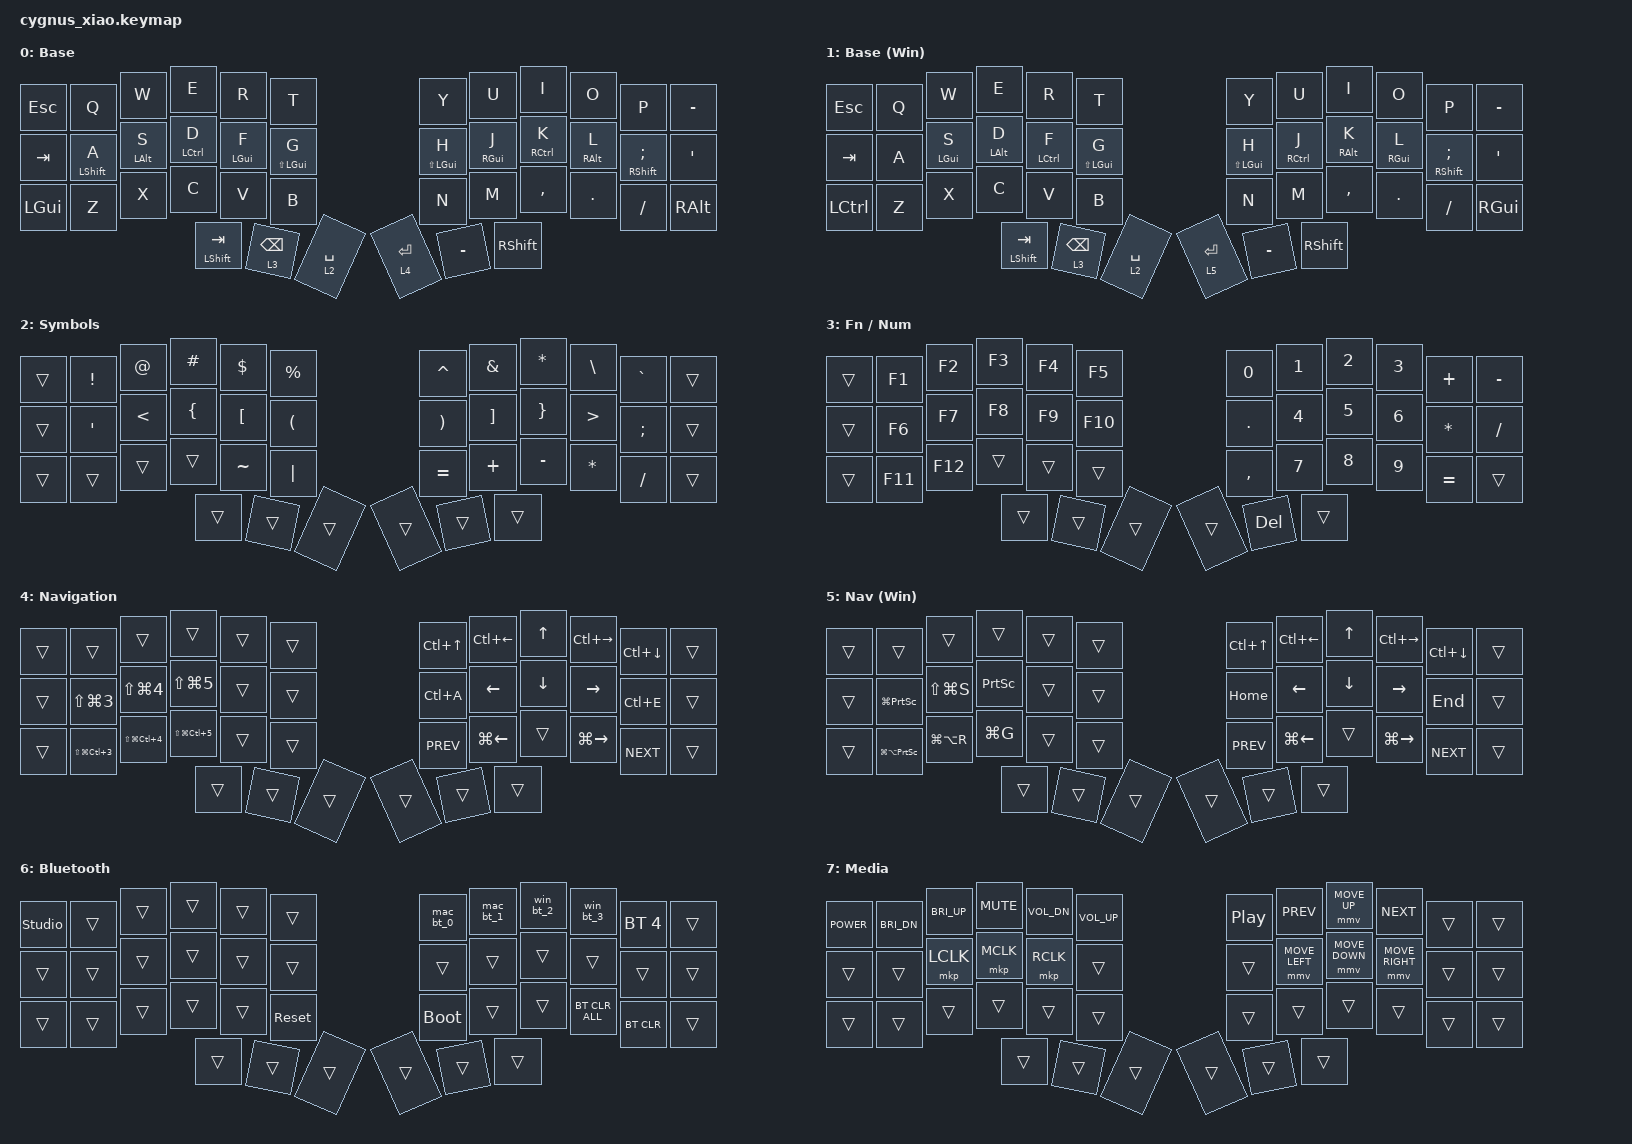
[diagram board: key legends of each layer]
/*
 * Copyright (c) 2020 The ZMK Contributors
 *
 * SPDX-License-Identifier: MIT
 */

/*
 * Cygnus 3x6 - keymap
 */
#include <behaviors.dtsi>
#include <dt-bindings/zmk/bt.h>
#include <dt-bindings/zmk/keys.h>
#include <dt-bindings/zmk/mouse.h>

/ {
    combos {
        compatible = "zmk,combos";

        /*
         * Left thumb TAB + right thumb SHIFT -> Layer 6 (Settings) while held
         *
         * Cygnus/Corne 3x6 positions:
         * TAB (left thumb)   = 36
         * SHIFT (right thumb) = 41
         */
        settings_layer {
            timeout-ms = <60>;
            key-positions = <36 41>;
            bindings = <&mo 6>;
        };

        /*
         * SPACE + ENTER simultaneously -> hold Layer 7 (Media)
         * Only on the Base layers (0 = Mac, 1 = Windows)
         */
        media_layer {
            timeout-ms = <60>;
            key-positions = <38 39>;
            bindings = <&mo 7>;
            layers = <0 1>;
        };

        /*
         * C + V simultaneously -> 英数 (LANG2)
         * M + COMMA simultaneously -> かな (LANG1)
         *
         * Cygnus/Corne 3x6 positions:
         * C = 27, V = 28
         * M = 31, COMMA = 32
         */
        eisu_combo {
            timeout-ms = <60>;
            key-positions = <27 28>;
            bindings = <&kp LANG2>;
        };

        kana_combo {
            timeout-ms = <60>;
            key-positions = <31 32>;
            bindings = <&kp LANG1>;
        };

        /*
         * O + P simultaneously -> MINUS (-)
         * DOT + SLASH simultaneously -> SINGLE_QUOTE (')
         * Only on the Base layers (0 = Mac, 1 = Windows)
         *
         * Cygnus/Corne 3x6 positions:
         * O = 9, P = 10
         * DOT = 33, SLASH = 34
         */
        hyphen_combo {
            timeout-ms = <60>;
            key-positions = <9 10>;
            bindings = <&kp MINUS>;
            layers = <0 1>;
        };

        quote_combo {
            timeout-ms = <60>;
            key-positions = <33 34>;
            bindings = <&kp SINGLE_QUOTE>;
            layers = <0 1>;
        };

        /*
         * B + T + O simultaneously -> bootloader
         * (same as double-pressing the reset button)
         *
         * Cygnus/Corne 3x6 positions:
         * T = 5
         * O = 9
         * B = 29
         */
        bootloader_combo {
            timeout-ms = <100>;
            key-positions = <5 9 29>;
            bindings = <&bootloader>;
        };
    };

    /*
     * Bluetooth profile + OS Base layer switch in one key press
     *
     * Profile 0, 1 -> Mac     (Layer 0)
     * Profile 2, 3 -> Windows (Layer 1)
     *
     * &to deactivates every layer except the default layer (0) and
     * activates the target, so it also cancels a stuck momentary layer.
     * Windows Base (1) must stay below Symbols/Num/Nav (2+): the highest
     * active layer wins, so temporary layers can only sit above it.
     */
    macros {
        mac_bt_0: mac_bt_0 {
            compatible = "zmk,behavior-macro";
            label = "MAC_BT_0";
            #binding-cells = <0>;
            bindings = <&macro_tap &bt BT_SEL 0 &to 0>;
        };

        mac_bt_1: mac_bt_1 {
            compatible = "zmk,behavior-macro";
            label = "MAC_BT_1";
            #binding-cells = <0>;
            bindings = <&macro_tap &bt BT_SEL 1 &to 0>;
        };

        win_bt_2: win_bt_2 {
            compatible = "zmk,behavior-macro";
            label = "WIN_BT_2";
            #binding-cells = <0>;
            bindings = <&macro_tap &bt BT_SEL 2 &to 1>;
        };

        win_bt_3: win_bt_3 {
            compatible = "zmk,behavior-macro";
            label = "WIN_BT_3";
            #binding-cells = <0>;
            bindings = <&macro_tap &bt BT_SEL 3 &to 1>;
        };
    };

    behaviors {
        /*
         * Home-row mods
         * Hold decision: 250 ms
         */

        hml: home_row_left {
            compatible = "zmk,behavior-hold-tap";
            label = "HOME_ROW_LEFT";
            #binding-cells = <2>;

            tapping-term-ms = <250>;
            quick-tap-ms = <175>;
            require-prior-idle-ms = <150>;
            flavor = "balanced";

            bindings = <&kp>, <&kp>;

            hold-trigger-key-positions =
                <6 7 8 9 10 11
                 18 19 20 21 22 23
                 30 31 32 33 34 35>;

            hold-trigger-on-release;
        };

        hmr: home_row_right {
            compatible = "zmk,behavior-hold-tap";
            label = "HOME_ROW_RIGHT";
            #binding-cells = <2>;

            tapping-term-ms = <250>;
            quick-tap-ms = <175>;
            require-prior-idle-ms = <150>;
            flavor = "balanced";

            bindings = <&kp>, <&kp>;

            hold-trigger-key-positions =
                <0 1 2 3 4 5
                 12 13 14 15 16 17
                 24 25 26 27 28 29>;

            hold-trigger-on-release;
        };

        /*
         * Modifier-tap
         * e.g. TAB/Shift, KANA/Shift
         */
        mt250: mod_tap_250 {
            compatible = "zmk,behavior-hold-tap";
            label = "MOD_TAP_250";
            #binding-cells = <2>;

            tapping-term-ms = <250>;
            quick-tap-ms = <175>;
            flavor = "balanced";

            bindings = <&kp>, <&kp>;
        };

        /*
         * Layer-tap
         *
         * arg1 = layer
         * arg2 = tap key
         */
        lt250: layer_tap_250 {
            compatible = "zmk,behavior-hold-tap";
            label = "LAYER_TAP_250";
            #binding-cells = <2>;

            tapping-term-ms = <250>;
            quick-tap-ms = <175>;
            flavor = "balanced";

            bindings = <&mo>, <&kp>;
        };
    };


    keymap {
        compatible = "zmk,keymap";


        /*
         * ==========================================================
         * Layer 0 - BASE (Mac)
         *
         * Selected by Bluetooth profile 0 / 1 (&mac_bt_0 / &mac_bt_1)
         * ==========================================================
         *
         * LEFT                                  RIGHT
         *
         * ESC   Q   W   E   R   T      Y   U   I   O   P   -
         * TAB   A/SFT S   D   F   G    H   J   K   L   ;/SFT '
         * GUI   Z   X   C   V   B      N   M   ,   .   /   ALT
         *
         * C+V -> 英数 (LANG2) combo, M+COMMA -> かな (LANG1) combo
         * O+P -> MINUS combo, DOT+SLASH -> SINGLE_QUOTE combo
         * G/H long-press -> GUI+SHIFT
         * A / ; long-press -> SHIFT
         * aerospace (macOS tiling WM) tuning: ALT <-> CONTROL swapped
         * on S/D and K/L vs. the stock layout
         *
         *       TAB/SFT BSPC/L3 SPACE/L2   ENTER/L4 -   RSHIFT
         */

        default_layer {
            display-name = "Base";

            bindings = <

&kp ESC          &kp Q                 &kp W                 &kp E                &kp R                &kp T
&kp Y            &kp U                 &kp I                 &kp O                &kp P                &kp MINUS

&kp TAB          &hml LEFT_SHIFT A     &hml LEFT_ALT S       &hml LEFT_CONTROL D  &hml LEFT_GUI F      &mt250 LS(LGUI) G
&mt250 LS(LGUI) H &hmr RIGHT_GUI J     &hmr RIGHT_CONTROL K  &hmr RIGHT_ALT L     &mt250 RIGHT_SHIFT SEMI &kp SINGLE_QUOTE

&kp LEFT_GUI     &kp Z                 &kp X                 &kp C                &kp V                &kp B
&kp N            &kp M                 &kp COMMA             &kp DOT              &kp SLASH            &kp RIGHT_ALT

                         &mt250 LEFT_SHIFT TAB
                         &lt250 3 BACKSPACE
                         &lt250 2 SPACE
                         &lt250 4 ENTER
                         &kp MINUS
                         &kp RIGHT_SHIFT
            >;
        };


        /*
         * ==========================================================
         * Layer 1 - BASE (Windows)
         *
         * Selected by Bluetooth profile 2 / 3 (&win_bt_2 / &win_bt_3)
         * Copy of Layer 0 with GUI <-> CTRL swapped on the home row / left edge.
         * LANG1 / LANG2 are kept as-is.
         *
         * ESC   Q   W   E   R   T      Y   U   I   O   P   -
         * TAB   A   GUI ALT CTRL G     H   CTRL ALT GUI ;/SFT '
         * CTRL  Z   X   C   V   B      N   M   ,   .   /   GUI
         *
         * C+V -> 英数 (LANG2) combo, M+COMMA -> かな (LANG1) combo
         * O+P -> MINUS combo, DOT+SLASH -> SINGLE_QUOTE combo
         * G/H long-press -> GUI+SHIFT
         * ; long-press -> SHIFT
         *
         *       TAB/SFT BSPC/L3 SPACE/L2   ENTER/L5 -   RSHIFT
         * ==========================================================
         */

        windows_layer {
            display-name = "Base (Win)";

            bindings = <

&kp ESC          &kp Q                 &kp W                 &kp E                &kp R                &kp T
&kp Y            &kp U                 &kp I                 &kp O                &kp P                &kp MINUS

&kp TAB          &kp A                 &hml LEFT_GUI S       &hml LEFT_ALT D      &hml LEFT_CONTROL F  &mt250 LS(LGUI) G
&mt250 LS(LGUI) H &hmr RIGHT_CONTROL J &hmr RIGHT_ALT K      &hmr RIGHT_GUI L     &mt250 RIGHT_SHIFT SEMI &kp SINGLE_QUOTE

&kp LEFT_CONTROL &kp Z                 &kp X                 &kp C                &kp V                &kp B
&kp N            &kp M                 &kp COMMA             &kp DOT              &kp SLASH            &kp RIGHT_GUI

                         &mt250 LEFT_SHIFT TAB
                         &lt250 3 BACKSPACE
                         &lt250 2 SPACE
                         &lt250 5 ENTER
                         &kp MINUS
                         &kp RIGHT_SHIFT
            >;
        };


        /*
         * ==========================================================
         * Layer 2 - SYMBOL
         * Conductor L1 based
         * ==========================================================
         */

        symbol_layer {
            display-name = "Symbols";

            bindings = <

&trans           &kp EXCL              &kp AT                &kp HASH             &kp DLLR             &kp PRCNT
&kp CARET        &kp AMPS              &kp ASTRK             &kp BSLH             &kp GRAVE            &trans

&trans           &kp SINGLE_QUOTE      &kp LT                &kp LBRC             &kp LBKT             &kp LPAR
&kp RPAR         &kp RBKT              &kp RBRC              &kp GT               &kp SEMI             &trans

&trans           &trans                &trans                &trans               &kp TILDE            &kp PIPE
&kp EQUAL        &kp PLUS              &kp MINUS             &kp ASTRK            &kp SLASH            &trans

                         &trans
                         &trans
                         &trans
                         &trans
                         &trans
                         &trans
            >;
        };


        /*
         * ==========================================================
         * Layer 3 - FUNCTION / NUMPAD
         *
         * DELETE sits on the right thumb (same key that is MINUS on
         * the Base layers): hold BSPC/L3 + that key -> DELETE.
         * ==========================================================
         */

        function_layer {
            display-name = "Fn / Num";

            bindings = <

&trans           &kp F1                &kp F2                &kp F3               &kp F4               &kp F5
&kp N0           &kp N1                &kp N2                &kp N3               &kp PLUS             &kp MINUS

&trans           &kp F6                &kp F7                &kp F8               &kp F9               &kp F10
&kp DOT          &kp N4                &kp N5                &kp N6               &kp ASTRK            &kp SLASH

&trans           &kp F11               &kp F12               &trans               &trans               &trans
&kp COMMA        &kp N7                &kp N8                &kp N9               &kp EQUAL            &trans

                         &trans
                         &trans
                         &trans
                         &trans
                         &kp DELETE
                         &trans
            >;
        };


        /*
         * ==========================================================
         * Layer 4 - NAVIGATION / macOS
         *
         * Reached from Mac Base (Layer 0) via ENTER/L4
         * ==========================================================
         */

        navigation_layer {
            display-name = "Navigation";

            bindings = <

&trans           &trans                &trans                &trans               &trans               &trans
&kp LC(UP_ARROW) &kp LC(LEFT_ARROW)    &kp UP_ARROW          &kp LC(RIGHT_ARROW)  &kp LC(DOWN_ARROW)   &trans

&trans           &kp LS(LG(N3))        &kp LS(LG(N4))        &kp LS(LG(N5))       &trans               &trans
&kp LC(A)        &kp LEFT_ARROW        &kp DOWN_ARROW        &kp RIGHT_ARROW      &kp LC(E)            &trans

&trans           &kp LS(LG(LC(N3)))    &kp LS(LG(LC(N4)))    &kp LS(LG(LC(N5)))   &trans               &trans
&kp C_PREV       &kp LG(LEFT_ARROW)    &trans               &kp LG(RIGHT_ARROW)  &kp C_NEXT           &trans

                         &trans
                         &trans
                         &trans
                         &trans
                         &trans
                         &trans
            >;
        };


        /*
         * ==========================================================
         * Layer 5 - NAVIGATION / Windows
         *
         * Reached from Windows Base (Layer 1) via ENTER/L5.
         * Same as the cygnus3x6_keymap_windows branch:
         * Row1: Win+PrtScn / Win+Shift+S / PrtScn
         * Row2: Win+Alt+PrtScn / Win+Alt+R / Win+G (Game Bar)
         * HOME/END replace the emacs-style Ctrl+A/Ctrl+E (Select All / Find on Windows).
         * ==========================================================
         */

        windows_navigation_layer {
            display-name = "Nav (Win)";

            bindings = <

&trans           &trans                &trans                &trans               &trans               &trans
&kp LC(UP_ARROW) &kp LC(LEFT_ARROW)    &kp UP_ARROW          &kp LC(RIGHT_ARROW)  &kp LC(DOWN_ARROW)   &trans

&trans           &kp LG(PSCRN)         &kp LS(LG(S))         &kp PSCRN            &trans               &trans
&kp HOME         &kp LEFT_ARROW        &kp DOWN_ARROW        &kp RIGHT_ARROW      &kp END              &trans

&trans           &kp LG(LA(PSCRN))     &kp LG(LA(R))         &kp LG(G)            &trans               &trans
&kp C_PREV       &kp LG(LEFT_ARROW)    &trans                &kp LG(RIGHT_ARROW)  &kp C_NEXT           &trans

                         &trans
                         &trans
                         &trans
                         &trans
                         &trans
                         &trans
            >;
        };


        /*
         * ==========================================================
         * Layer 6 - SETTINGS / Bluetooth
         *
         * Left thumb TAB + right thumb SHIFT simultaneously -> hold Layer 6
         *
         * BT 0/1 -> Mac Base, BT 2/3 -> Windows Base (macros)
         * ==========================================================
         */

        settings_layer {
            display-name = "Bluetooth";

            bindings = <

&studio_unlock   &trans                &trans                &trans               &trans               &trans
&mac_bt_0        &mac_bt_1             &win_bt_2             &win_bt_3            &bt BT_SEL 4         &trans

&trans           &trans                &trans                &trans               &trans               &trans
&trans           &trans                &trans                &trans               &trans               &trans

&trans           &trans                &trans                &trans               &trans               &sys_reset
&bootloader      &trans                &trans                &bt BT_CLR_ALL       &bt BT_CLR           &trans

                         &trans
                         &trans
                         &trans
                         &trans
                         &trans
                         &trans
            >;
        };

        /*
         * ==========================================================
         * Layer 7 - MEDIA / Mouse
         *
         * SPACE + ENTER simultaneously -> hold Layer 7
         * ==========================================================
         */

        media_layer {
            display-name = "Media";

            bindings = <

&kp C_POWER       &kp C_BRI_DN        &kp C_BRI_UP        &kp C_MUTE          &kp C_VOL_DN        &kp C_VOL_UP
&kp C_PLAY_PAUSE  &kp C_PREV          &mmv MOVE_UP        &kp C_NEXT          &trans              &trans

&trans            &trans              &mkp LCLK           &mkp MCLK           &mkp RCLK           &trans
&trans            &mmv MOVE_LEFT      &mmv MOVE_DOWN      &mmv MOVE_RIGHT     &trans              &trans

&trans            &trans              &trans              &trans              &trans              &trans
&trans            &trans              &trans              &trans              &trans              &trans

                         &trans
                         &trans
                         &trans
                         &trans
                         &trans
                         &trans
            >;
        };
    };
};
